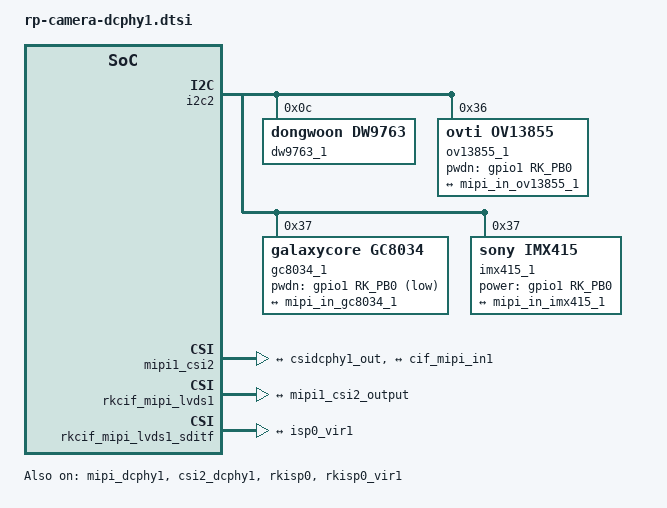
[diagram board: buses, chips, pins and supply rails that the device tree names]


&i2c2 {
	status = "okay";
	pinctrl-names = "default";
	pinctrl-0 = <&i2c2m4_xfer>;

	dw9763_1: dw9763_1@c {
                compatible = "dongwoon,dw9763";
                status = "okay";
                reg = <0x0c>;
                rockchip,vcm-max-current = <120>;
                rockchip,vcm-start-current = <20>;
                rockchip,vcm-rated-current = <90>;
                rockchip,vcm-step-mode = <3>;
                rockchip,vcm-t-src = <0x20>;
                rockchip,vcm-t-div = <1>;
                rockchip,camera-module-index = <1>;
                rockchip,camera-module-facing = "back";
        };
  
	ov13855_1: ov13855_1@36 {
		compatible = "ovti,ov13855";
		status = "okay";
		reg = <0x36>;
		clocks = <&cru CLK_MIPI_CAMARAOUT_M2>;
		clock-names = "xvclk";
		power-domains = <&power RK3588_PD_VI>;
		pinctrl-names = "default";
		pinctrl-0 = <&mipim0_camera2_clk>;
		rockchip,grf = <&sys_grf>;
		pwdn-gpios = <&gpio1 RK_PB0 GPIO_ACTIVE_HIGH>;
		rockchip,camera-module-index = <1>;
		rockchip,camera-module-facing = "back";
		rockchip,camera-module-name = "CMK-OT2016-FV1";
		rockchip,camera-module-lens-name = "default";
		lens-focus = <&dw9763_1>;
		port {
			ov13855_out1: endpoint {
				remote-endpoint = <&mipi_in_ov13855_1>;
				data-lanes = <1 2 3 4>;
			};
		};
	};
        gc8034_1: gc8034_1@37 {
                compatible = "galaxycore,gc8034";
                status = "okay";
                reg = <0x37>;   
                clocks = <&cru CLK_MIPI_CAMARAOUT_M2>;
                clock-names = "xvclk";
                power-domains = <&power RK3588_PD_VI>;
                pinctrl-names = "default";
                pinctrl-0 = <&mipim0_camera2_clk>;
                rockchip,grf = <&sys_grf>;
                pwdn-gpios = <&gpio1 RK_PB0 GPIO_ACTIVE_LOW>;
                rockchip,camera-module-index = <1>;
                rockchip,camera-module-facing = "front";
                rockchip,camera-module-name = "RK-CMK-8M-2-v1";
                rockchip,camera-module-lens-name = "CK8401-4";
                port {
                        gc8034_out1: endpoint {
                                remote-endpoint = <&mipi_in_gc8034_1>;
                                data-lanes = <1 2 3 4>;
                        };
                };
        };
        imx415_1: imx415_1@37 {
                compatible = "sony,imx415";
                status = "okay";
                reg = <0x37>;
                clocks = <&cru CLK_MIPI_CAMARAOUT_M2>;
                clock-names = "xvclk";
                power-domains = <&power RK3588_PD_VI>;
                pinctrl-names = "default";
                pinctrl-0 = <&mipim0_camera2_clk>;
                rockchip,grf = <&sys_grf>;
                power-gpios = <&gpio1 RK_PB0 GPIO_ACTIVE_HIGH>;//modify camera addr 0x37
                rockchip,camera-module-index = <1>;
                rockchip,camera-module-facing = "back";
                rockchip,camera-module-name = "CMK-OT2022-PX1";
                rockchip,camera-module-lens-name = "IR0147-50IRC-8M-F20";
                port {
                        imx415_out1: endpoint {
                                remote-endpoint = <&mipi_in_imx415_1>;
                                data-lanes = <1 2 3 4>;
                        };
                };
        };
};


&mipi_dcphy1 {
	status = "okay";
};

&csi2_dcphy1 {
	status = "okay";

	ports {
		#address-cells = <1>;
		#size-cells = <0>;
    port@0 {
			reg = <0>;
			#address-cells = <1>;
			#size-cells = <0>;

			mipi_in_ov13855_1: endpoint@1 {
				reg = <1>;
				remote-endpoint = <&ov13855_out1>;
        data-lanes = <1 2 3 4>;
			};
			mipi_in_gc8034_1: endpoint@2 {
				reg = <2>;
				remote-endpoint = <&gc8034_out1>;
        data-lanes = <1 2 3 4>;
			};
			mipi_in_imx415_1: endpoint@3 {
				reg = <3>;
				remote-endpoint = <&imx415_out1>;
        data-lanes = <1 2 3 4>;
			};
		};

		port@1 {
			reg = <1>;
			#address-cells = <1>;
			#size-cells = <0>;

			csidcphy1_out: endpoint@0 {
				reg = <0>;
				remote-endpoint = <&mipi1_csi2_input>;
			};
		};
	};
};

&mipi1_csi2 {
	status = "okay";

	ports {
		#address-cells = <1>;
		#size-cells = <0>;

		port@0 {
			reg = <0>;
			#address-cells = <1>;
			#size-cells = <0>;

			mipi1_csi2_input: endpoint@0 {
				reg = <0>;
				remote-endpoint = <&csidcphy1_out>;
			};
		};

		port@1 {
			reg = <1>;
			#address-cells = <1>;
			#size-cells = <0>;

			mipi1_csi2_output: endpoint@1 {
				reg = <1>;
				remote-endpoint = <&cif_mipi_in1>;
			};
		};
	};
};

&rkcif_mipi_lvds1 {
	status = "okay";

	port {
		cif_mipi_in1: endpoint {
			remote-endpoint = <&mipi1_csi2_output>;
		};
	};
};

&rkcif_mipi_lvds1_sditf {
	status = "okay";

	port {
		mipi_lvds1_sditf: endpoint {
			remote-endpoint = <&isp0_vir1>;
		};
	};
};

&rkisp0 {
	status = "okay";
};

&isp0_mmu {
	status = "okay";
};

&rkisp0_vir1 {
	status = "okay";
	port {
		#address-cells = <1>;
		#size-cells = <0>;

		isp0_vir1: endpoint@0 {
			reg = <0>;
			remote-endpoint = <&mipi_lvds1_sditf>;
		};
	};
};

